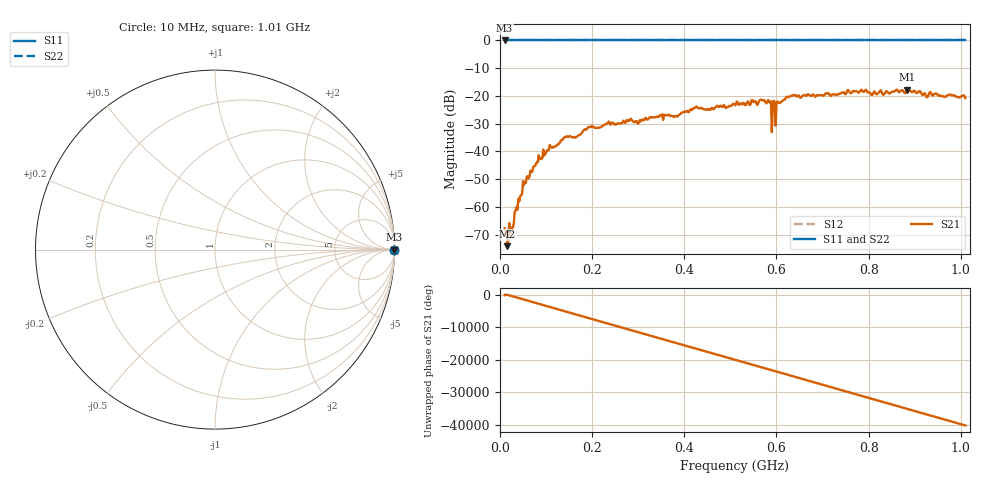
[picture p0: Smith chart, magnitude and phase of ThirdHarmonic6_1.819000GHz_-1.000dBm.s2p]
! 8/16/2025 10:02:52 PM
! C:\ANRITSUVNA\TEMP\TEMP.S2P
! CHANNEL.1
! TR.MEASUREMENT
! RAW.DATA
! RF.CORRECTION.OFF
! AVERAGING.OFF
! IF.BANDWIDTH: 5KHZ
! SWEEPTYPE:  FREQ.SWEEP(Linear)
! Reference Plane Port Info
! PORT:  PORT1  PORT2
! DISTANCE:  0  m  0  m
! TIME:  0  s  0  s
! PHASE.OFFSET:  0  deg.  0  deg.
! LOSS:  0  dB  0  dB
! REF.LOSS:  0  dB  0  dB
! REF.FREQ:  0  Hz  0  Hz
! Power Info
! POWER:  -20  dBm  -20  dBm
! EFF.POWER:  -20  dBm  -20  dBm
! SOURCE.ATTEN:  0  dB  0  dB
! TEST.ATTEN:  0  dB  0  dB
# GHZ S RI R 50.0
! FREQ.GHZ  S11RE  S11IM  S21RE  S21IM  S12RE  S12IM  S22RE  S22IM
!; PortSelection: Port_12
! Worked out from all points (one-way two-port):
!   501 points, 10 MHz to 1.01 GHz, reference 50 ohm
!   highest |S21| = -17.72 dB at 884 MHz (marker M1); lowest = -74.1 dB at 16 MHz (marker M2)
!   lowest |S11| = 0.0 dB at 10 MHz (marker M3)
!   |S11| at or under -10 dB: nowhere
!   |S22| runs from 0.0 to 0.0 dB; largest |S21 - S12| = 1.1
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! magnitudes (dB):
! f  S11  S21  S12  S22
! 10 MHz  0.0  -67.7  0.0  0.0
! 16 MHz  0.0  -74.1  0.0  0.0
! 26 MHz  0.0  -67.4  0.0  0.0
! 36 MHz  0.0  -60.0  0.0  0.0
! 54 MHz  0.0  -51.0  0.0  0.0
! 82 MHz  0.0  -43.9  0.0  0.0
! 142 MHz  0.0  -34.9  0.0  0.0
! 178 MHz  0.0  -33.2  0.0  0.0
! 196 MHz  0.0  -31.3  0.0  0.0
! 344 MHz  0.0  -27.6  0.0  0.0
! 510 MHz  0.0  -23.4  0.0  0.0
! 584 MHz  0.0  -22.2  0.0  0.0
! 586 MHz  0.0  -22.4  0.0  0.0
! 592 MHz  0.0  -22.5  0.0  0.0
! 594 MHz  0.0  -21.7  0.0  0.0
! 596 MHz  0.0  -22.1  0.0  0.0
! 604 MHz  0.0  -22.2  0.0  0.0
! 624 MHz  0.0  -20.3  0.0  0.0
! 678 MHz  0.0  -19.7  0.0  0.0
! 844 MHz  0.0  -19.1  0.0  0.0
! 884 MHz  0.0  -17.7  0.0  0.0
! 1.01 GHz  0.0  -20.8  0.0  0.0
